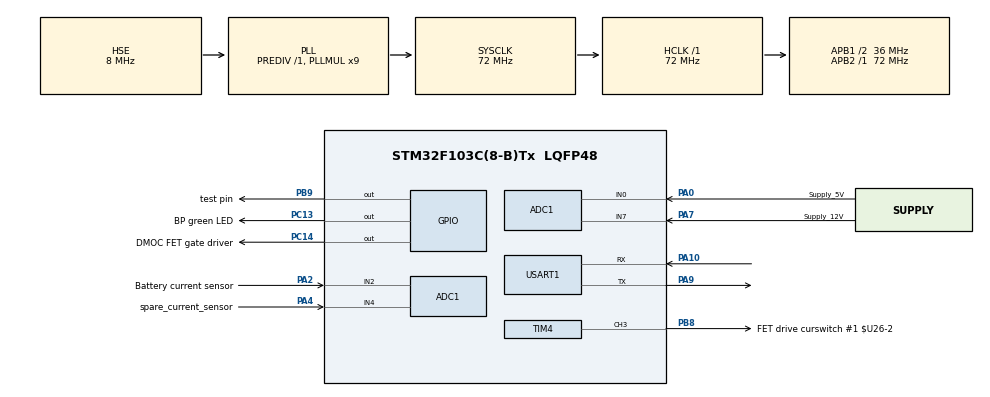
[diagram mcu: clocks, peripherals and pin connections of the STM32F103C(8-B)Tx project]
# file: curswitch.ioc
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ADC1.Channel-0\#ChannelRegularConversion=ADC_CHANNEL_0
ADC1.Channel-1\#ChannelRegularConversion=ADC_CHANNEL_2
ADC1.Channel-2\#ChannelRegularConversion=ADC_CHANNEL_4
ADC1.Channel-3\#ChannelRegularConversion=ADC_CHANNEL_7
ADC1.Channel-4\#ChannelRegularConversion=ADC_CHANNEL_TEMPSENSOR
ADC1.Channel-5\#ChannelRegularConversion=ADC_CHANNEL_VREFINT
ADC1.ContinuousConvMode=ENABLE
ADC1.InjNumberOfConversion=0
ADC1.NbrOfConversion=6
ADC1.NbrOfConversionFlag=1
ADC1.Rank-0\#ChannelRegularConversion=1
ADC1.Rank-1\#ChannelRegularConversion=2
ADC1.Rank-2\#ChannelRegularConversion=3
ADC1.Rank-3\#ChannelRegularConversion=4
ADC1.Rank-4\#ChannelRegularConversion=5
ADC1.Rank-5\#ChannelRegularConversion=6
ADC1.SamplingTime-0\#ChannelRegularConversion=ADC_SAMPLETIME_28CYCLES_5
ADC1.SamplingTime-1\#ChannelRegularConversion=ADC_SAMPLETIME_28CYCLES_5
ADC1.SamplingTime-2\#ChannelRegularConversion=ADC_SAMPLETIME_28CYCLES_5
ADC1.SamplingTime-3\#ChannelRegularConversion=ADC_SAMPLETIME_28CYCLES_5
ADC1.SamplingTime-4\#ChannelRegularConversion=ADC_SAMPLETIME_239CYCLES_5
ADC1.SamplingTime-5\#ChannelRegularConversion=ADC_SAMPLETIME_239CYCLES_5
ADC1.master=1
Dma.ADC1.2.Direction=DMA_PERIPH_TO_MEMORY
Dma.ADC1.2.Instance=DMA1_Channel1
Dma.ADC1.2.MemDataAlignment=DMA_MDATAALIGN_HALFWORD
Dma.ADC1.2.MemInc=DMA_MINC_ENABLE
Dma.ADC1.2.Mode=DMA_CIRCULAR
Dma.ADC1.2.PeriphDataAlignment=DMA_PDATAALIGN_HALFWORD
Dma.ADC1.2.PeriphInc=DMA_PINC_DISABLE
Dma.ADC1.2.Priority=DMA_PRIORITY_LOW
Dma.Request0=USART1_RX
Dma.Request1=USART1_TX
Dma.Request2=ADC1
Dma.USART1_RX.0.Direction=DMA_PERIPH_TO_MEMORY
Dma.USART1_RX.0.Instance=DMA1_Channel5
Dma.USART1_RX.0.MemDataAlignment=DMA_MDATAALIGN_BYTE
Dma.USART1_RX.0.MemInc=DMA_MINC_ENABLE
Dma.USART1_RX.0.Mode=DMA_CIRCULAR
Dma.USART1_RX.0.PeriphDataAlignment=DMA_PDATAALIGN_BYTE
Dma.USART1_RX.0.PeriphInc=DMA_PINC_DISABLE
Dma.USART1_RX.0.Priority=DMA_PRIORITY_LOW
Dma.USART1_TX.1.Direction=DMA_MEMORY_TO_PERIPH
Dma.USART1_TX.1.Instance=DMA1_Channel4
Dma.USART1_TX.1.MemDataAlignment=DMA_MDATAALIGN_BYTE
Dma.USART1_TX.1.MemInc=DMA_MINC_ENABLE
Dma.USART1_TX.1.Mode=DMA_NORMAL
Dma.USART1_TX.1.PeriphDataAlignment=DMA_PDATAALIGN_BYTE
Dma.USART1_TX.1.PeriphInc=DMA_PINC_DISABLE
Dma.USART1_TX.1.Priority=DMA_PRIORITY_LOW
FREERTOS.INCLUDE_uxTaskGetStackHighWaterMark=1
FREERTOS.INCLUDE_xTaskGetCurrentTaskHandle=1
FREERTOS.INCLUDE_xTaskGetHandle=1
FREERTOS.MEMORY_ALLOCATION=2
FREERTOS.Tasks01=defaultTask,-3,304,StartDefaultTask,Default,NULL,Dynamic,NULL,NULL
FREERTOS.configCHECK_FOR_STACK_OVERFLOW=2
FREERTOS.configTOTAL_HEAP_SIZE=7200
FREERTOS.configUSE_TIMERS=1
Mcu.Family=STM32F1
Mcu.Name=STM32F103C(8-B)Tx
Mcu.Package=LQFP48
NVIC.DMA1_Channel1_IRQn=true\:5\:0\:false\:false\:true\:true\:false\:true
NVIC.DMA1_Channel4_IRQn=true\:5\:0\:false\:false\:true\:true\:false\:true
NVIC.DMA1_Channel5_IRQn=true\:5\:0\:true\:false\:true\:true\:false\:true
NVIC.PriorityGroup=NVIC_PRIORITYGROUP_4
NVIC.TIM2_IRQn=true\:0\:0\:false\:false\:true\:false\:false\:true
NVIC.TimeBase=TIM2_IRQn
NVIC.TimeBaseIP=TIM2
NVIC.USART1_IRQn=true\:10\:0\:true\:false\:true\:true\:true\:true
PA0-WKUP.GPIO_Label=Supply_5V
PA0-WKUP.GPIO_Mode=GPIO_MODE_ANALOG
PA0-WKUP.Signal=ADCx_IN0
PA10.Mode=Asynchronous
PA10.Signal=USART1_RX
PA13.Mode=Serial_Wire
PA13.Signal=SYS_JTMS-SWDIO
PA14.Mode=Serial_Wire
PA14.Signal=SYS_JTCK-SWCLK
PA2.GPIO_Label=Battery current sensor
PA2.Signal=ADCx_IN2
PA4.GPIO_Label=spare_current_sensor
PA4.Signal=ADCx_IN4
PA7.GPIO_Label=Supply_12V
PA7.GPIO_Mode=GPIO_MODE_ANALOG
PA7.Signal=ADCx_IN7
PA9.Mode=Asynchronous
PA9.Signal=USART1_TX
PB8.GPIO_Label=FET drive curswitch \#1 $U26-2
PB8.Signal=S_TIM4_CH3
PB9.GPIO_Label=test pin
PB9.Signal=GPIO_Output
PC13-TAMPER-RTC.GPIO_Label=BP green LED
PC13-TAMPER-RTC.Signal=GPIO_Output
PC14-OSC32_IN.GPIO_Label=DMOC FET gate driver
PC14-OSC32_IN.Signal=GPIO_Output
PD0-OSC_IN.Mode=HSE-External-Oscillator
PD0-OSC_IN.Signal=RCC_OSC_IN
PD1-OSC_OUT.Mode=HSE-External-Oscillator
PD1-OSC_OUT.Signal=RCC_OSC_OUT
ProjectManager.HeapSize=0x200
ProjectManager.StackSize=0x400
ProjectManager.TargetToolchain=Makefile
RCC.ADCPresc=RCC_ADCPCLK2_DIV6
RCC.AHBFreq_Value=72000000
RCC.APB1CLKDivider=RCC_HCLK_DIV2
RCC.APB1Freq_Value=36000000
RCC.APB1TimFreq_Value=72000000
RCC.APB2Freq_Value=72000000
RCC.APB2TimFreq_Value=72000000
RCC.HCLKFreq_Value=72000000
RCC.PLLMUL=RCC_PLL_MUL9
RCC.PLLSourceVirtual=RCC_PLLSOURCE_HSE
RCC.SYSCLKFreq_VALUE=72000000
RCC.SYSCLKSource=RCC_SYSCLKSOURCE_PLLCLK
RCC.USBFreq_Value=72000000
SH.ADCx_IN0.0=ADC1_IN0,IN0
SH.ADCx_IN2.0=ADC1_IN2,IN2
SH.ADCx_IN4.0=ADC1_IN4,IN4
SH.ADCx_IN7.0=ADC1_IN7,IN7
SH.S_TIM4_CH3.0=TIM4_CH3,PWM Generation3 CH3
TIM1.Channel-Output\ Compare1\ No\ Output=TIM_CHANNEL_1
TIM1.Channel-Output\ Compare2\ No\ Output=TIM_CHANNEL_2
TIM1.Channel-Output\ Compare3\ No\ Output=TIM_CHANNEL_3
TIM1.Channel-Output\ Compare4\ No\ Output=TIM_CHANNEL_4
TIM1.Prescaler=36000
TIM4.AutoReloadPreload=TIM_AUTORELOAD_PRELOAD_DISABLE
TIM4.Channel-PWM\ Generation3\ CH3=TIM_CHANNEL_3
TIM4.Period=14400-1
USART1.VirtualMode=VM_ASYNC
VP_ADC1_TempSens_Input.Mode=IN-TempSens
VP_ADC1_Vref_Input.Mode=IN-Vrefint
VP_FREERTOS_VS_CMSIS_V1.Mode=CMSIS_V1
VP_SYS_VS_tim2.Mode=TIM2
VP_TIM1_VS_ClockSourceINT.Mode=Internal
VP_TIM1_VS_no_output1.Mode=Output Compare1 No Output
VP_TIM1_VS_no_output2.Mode=Output Compare2 No Output
VP_TIM1_VS_no_output3.Mode=Output Compare3 No Output
VP_TIM1_VS_no_output4.Mode=Output Compare4 No Output
VP_TIM4_VS_ClockSourceINT.Mode=Internal
board=custom

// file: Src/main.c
/* USER CODE BEGIN Header */
/**
  ******************************************************************************
  * @file           : main.c
  * @brief          : Main program body
  ******************************************************************************
  * This notice applies to any and all portions of this file
  * that are not between comment pairs USER CODE BEGIN and
  * USER CODE END. Other portions of this file, whether
  * inserted by the user or by software development tools
  * are owned by their respective copyright owners.
  *
  * Copyright (c) 2019 STMicroelectronics International N.V.
  * All rights reserved.
  *
  * Redistribution and use in source and binary forms, with or without
  * modification, are permitted, provided that the following conditions are met:
  *
  * 1. Redistribution of source code must retain the above copyright notice,
  *    this list of conditions and the following disclaimer.
  * 2. Redistributions in binary form must reproduce the above copyright notice,
  *    this list of conditions and the following disclaimer in the documentation
  *    and/or other materials provided with the distribution.
  * 3. Neither the name of STMicroelectronics nor the names of other
  *    contributors to this software may be used to endorse or promote products
  *    derived from this software without specific written permission.
  * 4. This software, including modifications and/or derivative works of this
  *    software, must execute solely and exclusively on microcontroller or
  *    microprocessor devices manufactured by or for STMicroelectronics.
  * 5. Redistribution and use of this software other than as permitted under
  *    this license is void and will automatically terminate your rights under
  *    this license.
  *
  * THIS SOFTWARE IS PROVIDED BY STMICROELECTRONICS AND CONTRIBUTORS "AS IS"
  * AND ANY EXPRESS, IMPLIED OR STATUTORY WARRANTIES, INCLUDING, BUT NOT
  * LIMITED TO, THE IMPLIED WARRANTIES OF MERCHANTABILITY, FITNESS FOR A
  * PARTICULAR PURPOSE AND NON-INFRINGEMENT OF THIRD PARTY INTELLECTUAL PROPERTY
  * RIGHTS ARE DISCLAIMED TO THE FULLEST EXTENT PERMITTED BY LAW. IN NO EVENT
  * SHALL STMICROELECTRONICS OR CONTRIBUTORS BE LIABLE FOR ANY DIRECT, INDIRECT,
  * INCIDENTAL, SPECIAL, EXEMPLARY, OR CONSEQUENTIAL DAMAGES (INCLUDING, BUT NOT
  * LIMITED TO, PROCUREMENT OF SUBSTITUTE GOODS OR SERVICES; LOSS OF USE, DATA,
  * OR PROFITS; OR BUSINESS INTERRUPTION) HOWEVER CAUSED AND ON ANY THEORY OF
  * LIABILITY, WHETHER IN CONTRACT, STRICT LIABILITY, OR TORT (INCLUDING
  * NEGLIGENCE OR OTHERWISE) ARISING IN ANY WAY OUT OF THE USE OF THIS SOFTWARE,
  * EVEN IF ADVISED OF THE POSSIBILITY OF SUCH DAMAGE.
  *
  ******************************************************************************
  */
/* USER CODE END Header */
#include "main.h"
#include "cmsis_os.h"

/* USER CODE BEGIN Includes */

#include "stm32f1xx_hal.h"
#include <string.h>
#include "SerialTaskSend.h"
#include "SerialTaskReceive.h"
#include "getserialbuf.h"
#include "stackwatermark.h"
#include "yprintf.h"
#include "gateway_comm.h"
#include "gateway_CANtoPC.h"
#include "DTW_counter.h"
#include "yscanf.h"
#include "adctask.h"
#include "ADCTask.h"
#include "adcparams.h"
#include "adcparamsinit.h"
#include "gateway_PCtoCAN.h"
#include "morse.h"
#include "MailboxTask.h"
#include "ContactorTask.h"

/* USER CODE END Includes */

/* USER CODE BEGIN PTD */
struct CAN_CTLBLOCK* pctl0;	// Pointer to CAN1 control block

uint32_t debugTX1c;
uint32_t debugTX1c_prev;

uint32_t debug03;
uint32_t debug03_prev;

extern osThreadId SerialTaskHandle;
extern osThreadId SerialTaskReceiveHandle;
extern osThreadId ADCTaskHandle;

uint16_t m_trap = 440;

/* USER CODE END PTD */

ADC_HandleTypeDef hadc1;
DMA_HandleTypeDef hdma_adc1;

TIM_HandleTypeDef htim1;
TIM_HandleTypeDef htim4;

UART_HandleTypeDef huart1;
DMA_HandleTypeDef hdma_usart1_rx;
DMA_HandleTypeDef hdma_usart1_tx;

osThreadId defaultTaskHandle;

void SystemClock_Config(void);
static void MX_GPIO_Init(void);
static void MX_DMA_Init(void);
static void MX_USART1_UART_Init(void);
static void MX_ADC1_Init(void);
static void MX_TIM4_Init(void);
static void MX_TIM1_Init(void);
void StartDefaultTask(void const * argument);

int main(void)
{
  /* USER CODE BEGIN 1 */
	BaseType_t ret;	   // Used for returns from function calls
	osMessageQId Qidret; // Function call return
	osThreadId Thrdret;
  /* USER CODE END 1 */

  /* MCU Configuration--------------------------------------------------------*/

  /* Reset of all peripherals, Initializes the Flash interface and the Systick. */
  HAL_Init();

  /* USER CODE BEGIN Init */
	DTW_counter_init();
  /* USER CODE END Init */

  /* Configure the system clock */
  SystemClock_Config();

  /* Initialize all configured peripherals */
  MX_GPIO_Init();
  MX_DMA_Init();
  MX_USART1_UART_Init();
  MX_ADC1_Init();
  MX_TIM4_Init();
  MX_TIM1_Init();

  /* Create the thread(s) */
  /* definition and creation of defaultTask */
  osThreadDef(defaultTask, StartDefaultTask, osPriorityIdle, 0, 304);
  defaultTaskHandle = osThreadCreate(osThread(defaultTask), NULL);

  /* USER CODE BEGIN RTOS_THREADS */
  /* add threads, ... */
/* =================================================== */

	/* Create serial task (priority) */
	// Task handle "osThreadId SerialTaskHandle" is global
	Thrdret = xSerialTaskSendCreate(0);	// Create task and set Task priority
	if (Thrdret == NULL) morse_trap(17);

	/* Add bcb circular buffer to SerialTaskSend for usart1 */
	#define NUMCIRBCB1  16 // Size of circular buffer of BCB for usart6
	ret = xSerialTaskSendAdd(&huart1, NUMCIRBCB1, 1); // dma
	if (ret < 0) morse_trap(1); // Panic LED flashing

	/* Setup semaphore for yprint and sprintf et al. */
	yprintf_init();

	/* Create serial receiving task. */
	Thrdret = xSerialTaskReceiveCreate(1);
	if (Thrdret == NULL) morse_trap(21);

	/* Contactor control. */
	Thrdret = xContactorTaskCreate(1);
	if (Thrdret == NULL) morse_trap(18);

	/* ADC summing, calibration, etc. */
	Thrdret = 	xADCTaskCreate(2);
	if (Thrdret == NULL) morse_trap(20);

/* =================================================== */

  /* USER CODE END RTOS_THREADS */

  /* Start scheduler */
  osKernelStart();

  /* We should never get here as control is now taken by the scheduler */
  /* Infinite loop */
  while (1)
  {

  }
}

void SystemClock_Config(void)
{
  RCC_OscInitTypeDef RCC_OscInitStruct = {0};
  RCC_ClkInitTypeDef RCC_ClkInitStruct = {0};
  RCC_PeriphCLKInitTypeDef PeriphClkInit = {0};

  /** Initializes the RCC Oscillators according to the specified parameters
  * in the RCC_OscInitTypeDef structure.
  */
  RCC_OscInitStruct.OscillatorType = RCC_OSCILLATORTYPE_HSE;
  RCC_OscInitStruct.HSEState = RCC_HSE_ON;
  RCC_OscInitStruct.HSEPredivValue = RCC_HSE_PREDIV_DIV1;
  RCC_OscInitStruct.HSIState = RCC_HSI_ON;
  RCC_OscInitStruct.PLL.PLLState = RCC_PLL_ON;
  RCC_OscInitStruct.PLL.PLLSource = RCC_PLLSOURCE_HSE;
  RCC_OscInitStruct.PLL.PLLMUL = RCC_PLL_MUL9;
  if (HAL_RCC_OscConfig(&RCC_OscInitStruct) != HAL_OK)
  {
    Error_Handler();
  }
  /** Initializes the CPU, AHB and APB buses clocks
  */
  RCC_ClkInitStruct.ClockType = RCC_CLOCKTYPE_HCLK|RCC_CLOCKTYPE_SYSCLK
                              |RCC_CLOCKTYPE_PCLK1|RCC_CLOCKTYPE_PCLK2;
  RCC_ClkInitStruct.SYSCLKSource = RCC_SYSCLKSOURCE_PLLCLK;
  RCC_ClkInitStruct.AHBCLKDivider = RCC_SYSCLK_DIV1;
  RCC_ClkInitStruct.APB1CLKDivider = RCC_HCLK_DIV2;
  RCC_ClkInitStruct.APB2CLKDivider = RCC_HCLK_DIV1;

  if (HAL_RCC_ClockConfig(&RCC_ClkInitStruct, FLASH_LATENCY_2) != HAL_OK)
  {
    Error_Handler();
  }
  PeriphClkInit.PeriphClockSelection = RCC_PERIPHCLK_ADC;
  PeriphClkInit.AdcClockSelection = RCC_ADCPCLK2_DIV6;
  if (HAL_RCCEx_PeriphCLKConfig(&PeriphClkInit) != HAL_OK)
  {
    Error_Handler();
  }
}

static void MX_ADC1_Init(void)
{

  /* USER CODE BEGIN ADC1_Init 0 */
	m_trap = 447; // morse_trap(447);
  /* USER CODE END ADC1_Init 0 */

  ADC_ChannelConfTypeDef sConfig = {0};

  /** Common config
  */
  hadc1.Instance = ADC1;
  hadc1.Init.ScanConvMode = ADC_SCAN_ENABLE;
  hadc1.Init.ContinuousConvMode = ENABLE;
  hadc1.Init.DiscontinuousConvMode = DISABLE;
  hadc1.Init.ExternalTrigConv = ADC_SOFTWARE_START;
  hadc1.Init.DataAlign = ADC_DATAALIGN_RIGHT;
  hadc1.Init.NbrOfConversion = 6;
  if (HAL_ADC_Init(&hadc1) != HAL_OK)
  {
    Error_Handler();
  }
  /** Configure Regular Channel
  */
  sConfig.Channel = ADC_CHANNEL_0;
  sConfig.Rank = ADC_REGULAR_RANK_1;
  sConfig.SamplingTime = ADC_SAMPLETIME_28CYCLES_5;
  if (HAL_ADC_ConfigChannel(&hadc1, &sConfig) != HAL_OK)
  {
    Error_Handler();
  }
  /** Configure Regular Channel
  */
  sConfig.Channel = ADC_CHANNEL_2;
  sConfig.Rank = ADC_REGULAR_RANK_2;
  if (HAL_ADC_ConfigChannel(&hadc1, &sConfig) != HAL_OK)
  {
    Error_Handler();
  }
  /** Configure Regular Channel
  */
  sConfig.Channel = ADC_CHANNEL_4;
  sConfig.Rank = ADC_REGULAR_RANK_3;
  if (HAL_ADC_ConfigChannel(&hadc1, &sConfig) != HAL_OK)
  {
    Error_Handler();
  }
  /** Configure Regular Channel
  */
  sConfig.Channel = ADC_CHANNEL_7;
  sConfig.Rank = ADC_REGULAR_RANK_4;
  if (HAL_ADC_ConfigChannel(&hadc1, &sConfig) != HAL_OK)
  {
    Error_Handler();
  }
  /** Configure Regular Channel
  */
  sConfig.Channel = ADC_CHANNEL_TEMPSENSOR;
  sConfig.Rank = ADC_REGULAR_RANK_5;
  sConfig.SamplingTime = ADC_SAMPLETIME_239CYCLES_5;
  if (HAL_ADC_ConfigChannel(&hadc1, &sConfig) != HAL_OK)
  {
    Error_Handler();
  }
  /** Configure Regular Channel
  */
  sConfig.Channel = ADC_CHANNEL_VREFINT;
  sConfig.Rank = ADC_REGULAR_RANK_6;
  if (HAL_ADC_ConfigChannel(&hadc1, &sConfig) != HAL_OK)
  {
    Error_Handler();
  }

}

static void MX_TIM1_Init(void)
{

  /* USER CODE BEGIN TIM1_Init 0 */
	m_trap = 445; // morse_trap(445);
  /* USER CODE END TIM1_Init 0 */

  TIM_ClockConfigTypeDef sClockSourceConfig = {0};
  TIM_MasterConfigTypeDef sMasterConfig = {0};
  TIM_OC_InitTypeDef sConfigOC = {0};
  TIM_BreakDeadTimeConfigTypeDef sBreakDeadTimeConfig = {0};

  htim1.Instance = TIM1;
  htim1.Init.Prescaler = 36000;
  htim1.Init.CounterMode = TIM_COUNTERMODE_UP;
  htim1.Init.Period = 65535;
  htim1.Init.ClockDivision = TIM_CLOCKDIVISION_DIV1;
  htim1.Init.RepetitionCounter = 0;
  htim1.Init.AutoReloadPreload = TIM_AUTORELOAD_PRELOAD_DISABLE;
  if (HAL_TIM_Base_Init(&htim1) != HAL_OK)
  {
    Error_Handler();
  }
  sClockSourceConfig.ClockSource = TIM_CLOCKSOURCE_INTERNAL;
  if (HAL_TIM_ConfigClockSource(&htim1, &sClockSourceConfig) != HAL_OK)
  {
    Error_Handler();
  }
  if (HAL_TIM_OC_Init(&htim1) != HAL_OK)
  {
    Error_Handler();
  }
  sMasterConfig.MasterOutputTrigger = TIM_TRGO_RESET;
  sMasterConfig.MasterSlaveMode = TIM_MASTERSLAVEMODE_DISABLE;
  if (HAL_TIMEx_MasterConfigSynchronization(&htim1, &sMasterConfig) != HAL_OK)
  {
    Error_Handler();
  }
  sConfigOC.OCMode = TIM_OCMODE_TIMING;
  sConfigOC.Pulse = 0;
  sConfigOC.OCPolarity = TIM_OCPOLARITY_HIGH;
  sConfigOC.OCNPolarity = TIM_OCNPOLARITY_HIGH;
  sConfigOC.OCFastMode = TIM_OCFAST_DISABLE;
  sConfigOC.OCIdleState = TIM_OCIDLESTATE_RESET;
  sConfigOC.OCNIdleState = TIM_OCNIDLESTATE_RESET;
  if (HAL_TIM_OC_ConfigChannel(&htim1, &sConfigOC, TIM_CHANNEL_1) != HAL_OK)
  {
    Error_Handler();
  }
  if (HAL_TIM_OC_ConfigChannel(&htim1, &sConfigOC, TIM_CHANNEL_2) != HAL_OK)
  {
    Error_Handler();
  }
  if (HAL_TIM_OC_ConfigChannel(&htim1, &sConfigOC, TIM_CHANNEL_3) != HAL_OK)
  {
    Error_Handler();
  }
  if (HAL_TIM_OC_ConfigChannel(&htim1, &sConfigOC, TIM_CHANNEL_4) != HAL_OK)
  {
    Error_Handler();
  }
  sBreakDeadTimeConfig.OffStateRunMode = TIM_OSSR_DISABLE;
  sBreakDeadTimeConfig.OffStateIDLEMode = TIM_OSSI_DISABLE;
  sBreakDeadTimeConfig.LockLevel = TIM_LOCKLEVEL_OFF;
  sBreakDeadTimeConfig.DeadTime = 0;
  sBreakDeadTimeConfig.BreakState = TIM_BREAK_DISABLE;
  sBreakDeadTimeConfig.BreakPolarity = TIM_BREAKPOLARITY_HIGH;
  sBreakDeadTimeConfig.AutomaticOutput = TIM_AUTOMATICOUTPUT_DISABLE;
  if (HAL_TIMEx_ConfigBreakDeadTime(&htim1, &sBreakDeadTimeConfig) != HAL_OK)
  {
    Error_Handler();
  }

}

static void MX_TIM4_Init(void)
{

  /* USER CODE BEGIN TIM4_Init 0 */
	m_trap = 443; // morse_trap(443);
  /* USER CODE END TIM4_Init 0 */

  TIM_ClockConfigTypeDef sClockSourceConfig = {0};
  TIM_MasterConfigTypeDef sMasterConfig = {0};
  TIM_OC_InitTypeDef sConfigOC = {0};

  htim4.Instance = TIM4;
  htim4.Init.Prescaler = 0;
  htim4.Init.CounterMode = TIM_COUNTERMODE_UP;
  htim4.Init.Period = 14400-1;
  htim4.Init.ClockDivision = TIM_CLOCKDIVISION_DIV1;
  htim4.Init.AutoReloadPreload = TIM_AUTORELOAD_PRELOAD_DISABLE;
  if (HAL_TIM_Base_Init(&htim4) != HAL_OK)
  {
    Error_Handler();
  }
  sClockSourceConfig.ClockSource = TIM_CLOCKSOURCE_INTERNAL;
  if (HAL_TIM_ConfigClockSource(&htim4, &sClockSourceConfig) != HAL_OK)
  {
    Error_Handler();
  }
  if (HAL_TIM_PWM_Init(&htim4) != HAL_OK)
  {
    Error_Handler();
  }
  sMasterConfig.MasterOutputTrigger = TIM_TRGO_RESET;
  sMasterConfig.MasterSlaveMode = TIM_MASTERSLAVEMODE_DISABLE;
  if (HAL_TIMEx_MasterConfigSynchronization(&htim4, &sMasterConfig) != HAL_OK)
  {
    Error_Handler();
  }
  sConfigOC.OCMode = TIM_OCMODE_PWM1;
  sConfigOC.Pulse = 0;
  sConfigOC.OCPolarity = TIM_OCPOLARITY_HIGH;
  sConfigOC.OCFastMode = TIM_OCFAST_DISABLE;
  if (HAL_TIM_PWM_ConfigChannel(&htim4, &sConfigOC, TIM_CHANNEL_3) != HAL_OK)
  {
    Error_Handler();
  }
  HAL_TIM_MspPostInit(&htim4);

}

static void MX_USART1_UART_Init(void)
{

  /* USER CODE BEGIN USART1_Init 0 */
	m_trap = 442; // morse_trap(442);
  /* USER CODE END USART1_Init 0 */

  huart1.Instance = USART1;
  huart1.Init.BaudRate = 115200;
  huart1.Init.WordLength = UART_WORDLENGTH_8B;
  huart1.Init.StopBits = UART_STOPBITS_1;
  huart1.Init.Parity = UART_PARITY_NONE;
  huart1.Init.Mode = UART_MODE_TX_RX;
  huart1.Init.HwFlowCtl = UART_HWCONTROL_NONE;
  huart1.Init.OverSampling = UART_OVERSAMPLING_16;
  if (HAL_UART_Init(&huart1) != HAL_OK)
  {
    Error_Handler();
  }

}

static void MX_DMA_Init(void)
{

  /* DMA controller clock enable */
  __HAL_RCC_DMA1_CLK_ENABLE();

  /* DMA interrupt init */
  /* DMA1_Channel1_IRQn interrupt configuration */
  HAL_NVIC_SetPriority(DMA1_Channel1_IRQn, 5, 0);
  HAL_NVIC_EnableIRQ(DMA1_Channel1_IRQn);
  /* DMA1_Channel4_IRQn interrupt configuration */
  HAL_NVIC_SetPriority(DMA1_Channel4_IRQn, 5, 0);
  HAL_NVIC_EnableIRQ(DMA1_Channel4_IRQn);
  /* DMA1_Channel5_IRQn interrupt configuration */
  HAL_NVIC_SetPriority(DMA1_Channel5_IRQn, 5, 0);
  HAL_NVIC_EnableIRQ(DMA1_Channel5_IRQn);

}

static void MX_GPIO_Init(void)
{
  GPIO_InitTypeDef GPIO_InitStruct = {0};

  /* GPIO Ports Clock Enable */
  __HAL_RCC_GPIOC_CLK_ENABLE();
  __HAL_RCC_GPIOD_CLK_ENABLE();
  __HAL_RCC_GPIOA_CLK_ENABLE();
  __HAL_RCC_GPIOB_CLK_ENABLE();

  /*Configure GPIO pin Output Level */
  HAL_GPIO_WritePin(GPIOC, BP_green_LED_Pin|DMOC_FET_gate_driver_Pin, GPIO_PIN_RESET);

  /*Configure GPIO pin Output Level */
  HAL_GPIO_WritePin(test_pin_GPIO_Port, test_pin_Pin, GPIO_PIN_RESET);

  /*Configure GPIO pins : BP_green_LED_Pin DMOC_FET_gate_driver_Pin */
  GPIO_InitStruct.Pin = BP_green_LED_Pin|DMOC_FET_gate_driver_Pin;
  GPIO_InitStruct.Mode = GPIO_MODE_OUTPUT_PP;
  GPIO_InitStruct.Pull = GPIO_NOPULL;
  GPIO_InitStruct.Speed = GPIO_SPEED_FREQ_LOW;
  HAL_GPIO_Init(GPIOC, &GPIO_InitStruct);

  /*Configure GPIO pin : test_pin_Pin */
  GPIO_InitStruct.Pin = test_pin_Pin;
  GPIO_InitStruct.Mode = GPIO_MODE_OUTPUT_PP;
  GPIO_InitStruct.Pull = GPIO_NOPULL;
  GPIO_InitStruct.Speed = GPIO_SPEED_FREQ_LOW;
  HAL_GPIO_Init(test_pin_GPIO_Port, &GPIO_InitStruct);

}

void StartDefaultTask(void const * argument)
{
  /* USER CODE BEGIN 5 */
	struct SERIALSENDTASKBCB* pbuf1 = getserialbuf(&huart1,96);
	if (pbuf1 == NULL) morse_trap(11);

	int ctr = 0; // Running count
	uint32_t heapsize;

// Copy of fast sum of ADC readings
int i;

// Number ADC readings per sec: 1153-1154.
extern uint32_t adcsumdb[6];// DMA sums
//extern uint32_t adcdbctr; // ADC DMA sum counter
double dt1;

extern struct CURSWFUNCTION curswfunction;
struct CURSWFUNCTION* pcf = &curswfunction;

osDelay(50); // Allow ADC task to get these initialized

// Temperature precomputed ratio check
if (pcf->padc->intern.dx25 < 0.1) morse_trap(48);

//double dxdvref = pcf->padc->intern.dvref * (1.0/4.3E-3);
if (pcf->padc->intern.dxdvref < 0.1) morse_trap(49);

// DTW time duration checks
extern uint32_t adcdbg2;

extern uint32_t dbgCE1;
uint32_t dbgCE1_prev = dbgCE1;

#define LOOPDELAY 1000

  /* Infinite loop */
  for(;;)
  {
	osDelay(LOOPDELAY);
//while( (dbggpsflag-dbggpsflag_prev) == 0);
//dbggpsflag_prev = dbggpsflag;

	HAL_GPIO_TogglePin(GPIOC,GPIO_PIN_13); // LED Green

#define SHOWSTACKWATERMARK
#ifdef SHOWSTACKWATERMARK
			// Following takes 1370791 sysclock ticks 19.0 ms (includes serial port wait)
			/* Display the amount of unused stack space for tasks. */
			yprintf(&pbuf1,"\n\n\r#%4i Unused Task stack space--", ctr++);
			stackwatermark_show(defaultTaskHandle,&pbuf1,"defaultTask---");
			stackwatermark_show(SerialTaskHandle ,&pbuf1,"SerialTaskSend");
	//		stackwatermark_show(CanRxTaskHandle  ,&pbuf1,"CanRxTask-----");
			stackwatermark_show(ADCTaskHandle    ,&pbuf1,"ADCTask-------");
 		 stackwatermark_show(ContactorTaskHandle,&pbuf1,"ContactorTask-");
	stackwatermark_show(SerialTaskReceiveHandle,&pbuf1,"SerialReceiveTask");

			/* Heap usage (and test fp woking. */
  #define HEAPSIZELIST
  #ifdef  HEAPSIZELIST
			heapsize = xPortGetFreeHeapSize();
			yprintf(&pbuf1,"\n\r#GetFreeHeapSize: total: %i free %i %3.1f%% used: %i\n\n\r",configTOTAL_HEAP_SIZE, heapsize,\
				100.0*(float)heapsize/configTOTAL_HEAP_SIZE,(configTOTAL_HEAP_SIZE-heapsize));
  #endif

#endif

#define SHOWSUMMEDADCCHANNELS
#ifdef  SHOWSUMMEDADCCHANNELS
		for (i = 0; i < 6; i++)
		{
			yprintf(&pbuf1,"%7i ",adcsumdb[i]); // This is what routines work with
		}
		yprintf(&pbuf1, " :%7i %8.1f\n\r ", pcf->padc->intern.adcfiltemp, (double)(pcf->padc->intern.adcfilvref)/pcf->padc->intern.iiradcvref.pprm->scale);
#endif

#define SHOWEXTENDEDSUMMEDADCCHANNELS
#ifdef  SHOWEXTENDEDSUMMEDADCCHANNELS
		yprintf(&pbuf1, "\n\r     5v    cur1    cur2     12v    temp    vref\n\rA ");
		// Following loop takes about 450000 sysclock ticks 6.2 ms (includes waits for serial port)
		for (i = 0; i < 6; i++)
		{
			yprintf(&pbuf1,"%8.1f",(double)(pcf->padc->chan[i].xsum[1])*(1.0/ADCEXTENDSUMCT));
		}
		yprintf(&pbuf1,"\n\r");
#endif

#define SHOWINTERNALTEMPERATURECALCULATIONS
#ifdef SHOWINTERNALTEMPERATURECALCULATIONS
	/* Internal temperature computation check. */
	// The following takes 1418 sysclock ticks
	dt1 = (pcf->padc->intern.dx25 - (pcf->padc->intern.dxdvref * ((double)pcf->padc->intern.adcfiltemp / (double)pcf->padc->intern.adcfilvref )))  + pcf->padc->lc.calintern.drmtemp;

	yprintf(&pbuf1,"\n\rT degC: (doubles)%6.2f %6.2f (scaled int)%i\n\r", dt1,(double)pcf->padc->intern.itemp/(1<<ADCSCALEbits), adcdbg2,pcf->padc->intern.adccmpvref);
#endif

//      pcf->padc->chan[ADC1IDX_5VOLTSUPPLY].ival,  pcf->padc->v5.adcfil,
//      pcf->padc->chan[ADC1IDX_12VRAWSUPPLY].ival, pcf->padc->v12.adcfil,
//#define SHOWADCDETAILS
#ifdef  SHOWADCDETAILS
	yprintf(&pbuf1,"\n\r%i %i %i %i %i %0.6f %0.4f : %0.4f\n\r",
      pcf->padc->v12.ival,
      pcf->padc->intern.adcfilvref,
      pcf->padc->intern.vref,
	   pcf->padc->v12.adcfil,
	   pcf->padc->lc.calintern.adcvdd,
      pcf->padc->v12.k,
      (pcf->padc->v12.k * (double)pcf->padc->v12.ival * (1.0/(1<<ADCSCALEbits))),
      pcf->padc->intern.dvref );

	yprintf(&pbuf1,"\n\rV v5: %0.3f  v12: %0.2f\n\r",
	  (pcf->padc->v5.k  * (double)pcf->padc->v5.ival  * (1.0/(1<<ADCSCALEbits))),
	  (pcf->padc->v12.k * (double)pcf->padc->v12.ival * (1.0/(1<<ADCSCALEbits))) );
#endif

#define TESTRATIOMETRICCALIBRATION
#ifdef  TESTRATIOMETRICCALIBRATION
/*
struct ADCRATIOMETRIC
{
	struct IIRFILTERL iir;    // Intermediate filter params
	double drk5ke;    // Ratio k5/ke resistor dividers ratio (~1.0)
	double drko;      // Offset ratio: double (~0.5)
	double dscale;    // Scale factor
	uint32_t adcfil;  // Filtered ADC reading
	int32_t irk5ke;   // Ratio k5/ke ratio: scale int (~32768)
	int32_t irko;     // Offset ratio: scale int (~32768)
	int32_t iI;       // integer result w offset, not final scaling
}; */
yprintf(&pbuf1,"\n\rRATIOMETRIC: struct ADCRATIOMETRIC for cur1--\n\r");
yprintf(&pbuf1,"drko   %0.5f\n\rdscale %0.6f\n\r",
	pcf->padc->cur1.drko,    /* Offset ratio: double (~0.5)               */
	pcf->padc->cur1.dscale); /* Scale factor                              */
yprintf(&pbuf1,"adcfil %i\n\rirko   %i\n\riI     %i\n\r",
	pcf->padc->cur1.adcfil,  /* Filtered ADC reading                      */
	pcf->padc->cur1.irko,    /* Offset ratio: scale int (~32768)          */
	pcf->padc->cur1.iI );    /* integer result w offset, not final scaling*/

double dI = (pcf->padc->cur1.iI * pcf->padc->cur1.dscale) / (1<<ADCSCALEbits);
yprintf(&pbuf1,"calib %0.5f\n\r",dI);

// Debug
extern uint32_t dbgadcfil;
extern uint32_t dbgadcratio;
yprintf(&pbuf1,"dadcfil %i\n\rratio  %i\n\r",
dbgadcfil,
dbgadcratio);

yprintf(&pbuf1,"icurrentdisconnect %i iI %d\n\r",pcf->icurrentdisconnect,pcf->padc->cur1.iI);

#endif

#define TESTABSOLUTECALIBRATION
#ifdef  TESTABSOLUTECALIBRATION

double dt1 = ((double)pcf->padc->v5.ival * (1.0/(1<<ADCSCALEbits)) * pcf->padc->v5.dscale );
yprintf(&pbuf1,"v5--\n\radc v5  %i\n\rival    %i\n\rk       %8.6f\n\rdref   %9.6f\n\r",
pcf->padc->v5.adcfil,
pcf->padc->v5.ival,
pcf->padc->v5.k,
pcf->padc->intern.dvref);
yprintf(&pbuf1,"cmpvref %i\n\radcvref %i\n\rdscale  %8.6f\n\r5V %13.3f\n\r",
pcf->padc->intern.adccmpvref,
pcf->padc->intern.adcfilvref,
pcf->padc->v5.dscale,
dt1);

dt1 = ((double)pcf->padc->v12.ival * (1.0/(1<<ADCSCALEbits)) * pcf->padc->v12.dscale );
yprintf(&pbuf1,"v12--\n\radc v12 %i\n\rival    %i\n\rk       %8.6f\n\rdref   %9.6f\n\r",
pcf->padc->v12.adcfil,
pcf->padc->v12.ival,
pcf->padc->v12.k,
pcf->padc->intern.dvref);
yprintf(&pbuf1,"cmpvref %i\n\radcvref %i\n\rdscale  %8.6f\n\r12V %12.3f\n\r",
pcf->padc->intern.adccmpvref,
pcf->padc->intern.adcfilvref,
pcf->padc->v12.dscale,
dt1);

#endif

  } // END OF FOR LOOP

  /* USER CODE END 5 */
}

 /**
  * @brief  Period elapsed callback in non blocking mode
  * @note   This function is called  when TIM2 interrupt took place, inside
  * HAL_TIM_IRQHandler(). It makes a direct call to HAL_IncTick() to increment
  * a global variable "uwTick" used as application time base.
  * @param  htim : TIM handle
  * @retval None
  */
void HAL_TIM_PeriodElapsedCallback(TIM_HandleTypeDef *htim)
{
  if (htim->Instance == TIM2) {
    HAL_IncTick();
  }
}

void Error_Handler(void)
{
  /* USER CODE BEGIN Error_Handler_Debug */
  /* User can add his own implementation to report the HAL error return state */
	morse_trap(m_trap); // Trap any HAL Init

  /* USER CODE END Error_Handler_Debug */
}

#ifdef  USE_FULL_ASSERT
/**
  * @brief  Reports the name of the source file and the source line number
  *         where the assert_param error has occurred.
  * @param  file: pointer to the source file name
  * @param  line: assert_param error line source number
  * @retval None
  */
void assert_failed(uint8_t *file, uint32_t line)
{
  /* USER CODE BEGIN 6 */
  /* User can add his own implementation to report the file name and line number,
     tex: printf("Wrong parameters value: file %s on line %d\r\n", file, line) */
morse_trap(71);
  /* USER CODE END 6 */
}
#endif /* USE_FULL_ASSERT */

/************************ (C) COPYRIGHT STMicroelectronics *****END OF FILE****/
